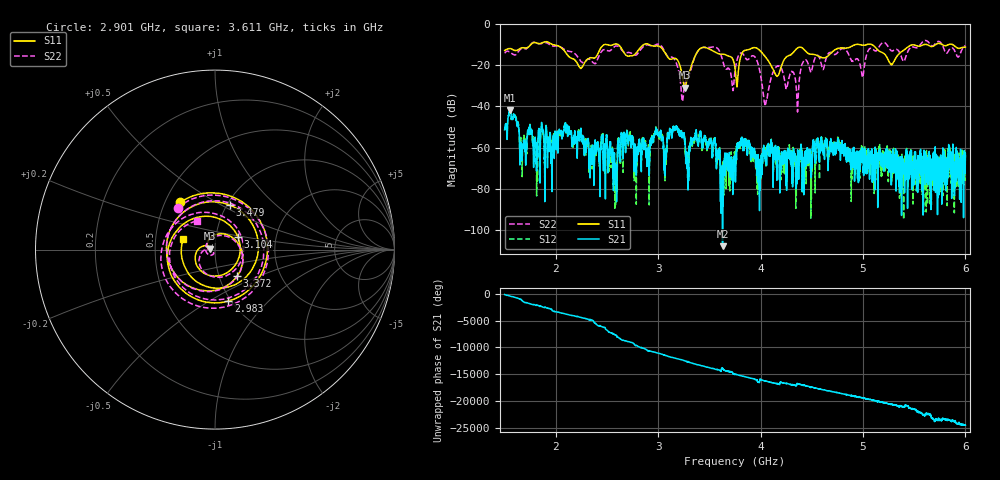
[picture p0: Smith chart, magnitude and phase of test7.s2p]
!Keysight Technologies N9923A: A.08.15
!Date: Monday, 19 February 2024 15:53:07
!Timezone: (GMT-05:00) Eastern Time (US & Canada)
!Model: N9923A
!Serial: MY52412730
!GPS Latitude:
!GPS Longitude:
!GPS TimeStamp: 0001-01-01 00:00:00Z
!GPS Seconds Since Last Read: 0
!CHECKSUM:0592200047
!Correction: S11(ON Q)S21(ON Q)S12(ON Q)S22(ON Q)
!S2P File: Measurements:S11,S21,S12,S22:
# Hz S DB R 50
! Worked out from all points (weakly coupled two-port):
!   4001 points, 1.5 GHz to 6 GHz, reference 50 ohm
!   highest |S21| = -41.79 dB at 1.556 GHz (marker M1); lowest = -107.9 dB at 3.628 GHz (marker M2)
!   lowest |S11| = -30.9 dB at 3.263 GHz (marker M3), VSWR 1.06, Z = 47.3 + j0.518 ohm
!   |S11| at or under -10 dB: 1.974 GHz to 2.47 GHz (495.8 MHz wide, 22.3 % of centre); 2.915 GHz to 4.922 GHz (2.008 GHz wide, 51.2 % of centre); 5.09 GHz to 5.591 GHz (501.6 MHz wide, 9.39 % of centre) (the widest 3 of 11)
!   |S22| runs from -42.7 to -7.9 dB; largest |S21 - S12| = 0.0012
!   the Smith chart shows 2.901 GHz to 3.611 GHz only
!   S11 on the Smith chart (normalised r, x): 2.901 GHz: 0.60, +0.35; 2.983 GHz: 0.97, -0.61; 3.104 GHz: 1.28, +0.19; 3.372 GHz: 1.22, -0.37; 3.479 GHz: 1.03, +0.55; 3.611 GHz: 0.69, +0.08
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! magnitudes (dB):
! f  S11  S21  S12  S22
! 1.5 GHz  -12.8  -51.3  -51.3  -14.1
! 1.556 GHz  -11.8  -41.8  -41.9  -13.6
! 1.668 GHz  -11.5  -60.0  -63.6  -11.7
! 2.25 GHz  -21.2  -56.6  -55.8  -18.3
! 2.577 GHz  -9.7  -72.5  -90.1  -10.8
! 2.708 GHz  -15.5  -58.3  -59.1  -13.7
! 2.901 GHz  -9.7  -61.3  -60.5  -10.1
! 2.983 GHz  -10.6  -51.2  -51.1  -9.8
! 3.001 GHz  -10.6  -54.0  -53.6  -9.7
! 3.104 GHz  -16.7  -55.6  -55.2  -16.0
! 3.263 GHz  -30.9  -58.5  -59.3  -28.6
! 3.372 GHz  -14.4  -51.6  -51.9  -14.4
! 3.479 GHz  -11.7  -60.9  -59.6  -11.3
! 3.611 GHz  -14.6  -79.6  -72.9  -14.5
! 3.628 GHz  -14.6  -107.9  -74.8  -17.4
! 3.75 GHz  -21.3  -65.2  -65.5  -22.9
! 3.938 GHz  -11.4  -60.2  -62.5  -15.6
! 4.049 GHz  -16.1  -61.6  -62.7  -38.2
! 4.16 GHz  -25.3  -75.8  -65.1  -20.5
! 4.5 GHz  -14.6  -63.5  -65.8  -22.4
! 5.251 GHz  -17.8  -64.2  -66.1  -11.3
! 6 GHz  -11.2  -63.2  -63.2  -10.4
